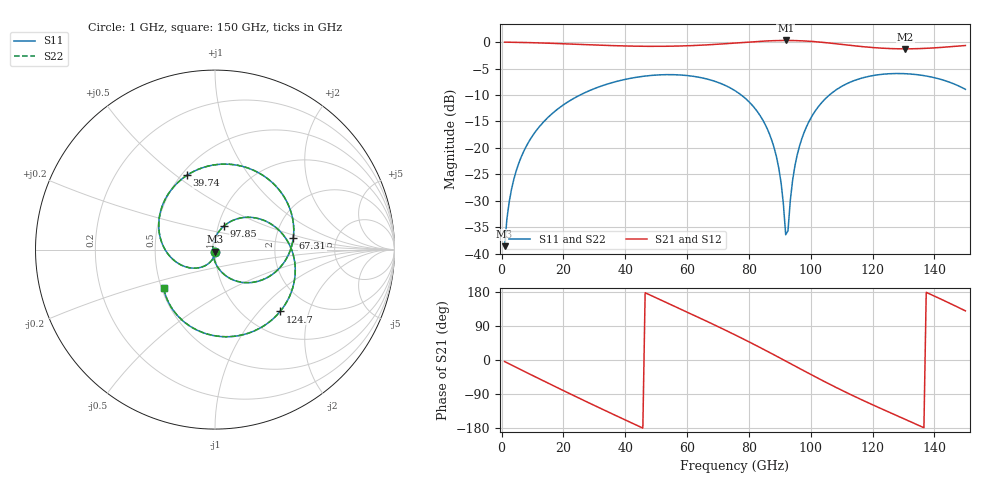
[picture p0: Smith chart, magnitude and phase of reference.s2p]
! Created with skrf 2.2.0 (http://scikit-rf.org).
# Hz S RI R 50.0
!freq ReS11 ImS11 ReS21 ImS21 ReS12 ImS12 ReS22 ImS22
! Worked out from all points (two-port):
!   201 points, 1 GHz to 150 GHz, reference 50 ohm
!   highest |S21| = 0.30 dB at 91.89 GHz (marker M1); lowest = -1.3 dB at 130.6 GHz (marker M2)
!   |S21| within 3 dB of the highest: start of sweep to end of sweep
!   lowest |S11| = -38.6 dB at 1 GHz (marker M3), VSWR 1.02, Z = 50.1 - j1.18 ohm
!   |S11| at or under -10 dB: start of sweep to 25.42 GHz; 77.5 GHz to 106 GHz (28.53 GHz wide, 31.1 % of centre)
!   |S22| runs from -38.7 to -5.9 dB; largest |S21 - S12| = 1.7e-12
!   S11 on the Smith chart (normalised r, x): 1 GHz: 1.00, -0.02; 39.74 GHz: 0.53, +0.55; 67.31 GHz: 2.50, +0.39; 97.85 GHz: 1.06, +0.28; 124.7 GHz: 1.43, -1.31; 150 GHz: 0.51, -0.25
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1e9  0.000712 -0.0118  0.9956 -0.0724  0.9956 -0.0724  0.000591 -0.0117
3.235e9  -0.00666 -0.0402  0.969 -0.2289  0.969 -0.2289  -0.00661 -0.0401
7.705e9  -0.0495 -0.0865  0.8444 -0.5162  0.8444 -0.5162  -0.0495 -0.0865
1.739e10  -0.2114 -0.0726  0.3263 -0.9137  0.3263 -0.9137  -0.2114 -0.0726
2.633e10  -0.311 0.0976  -0.2549 -0.9126  -0.2549 -0.9126  -0.311 0.0976
3.974e10  -0.1559 0.4141  -0.8469 -0.3562  -0.8469 -0.3562  -0.156 0.4141
5.0915e10  0.1749 0.4573  -0.8599 0.3014  -0.8599 0.3014  0.1747 0.4574
6.7305e10  0.4361 0.0636  -0.1413 0.933  -0.1413 0.933  0.4361 0.0641
7.55e10  0.3181 -0.1393  0.3926 0.8971  0.3926 0.8971  0.3185 -0.1388
8.742e10  0.0269 -0.1143  0.9858 0.2954  0.9858 0.2954  0.0274 -0.1143
9.04e10  -0.00747 -0.0462  1.032 0.0681  1.032 0.0681  -0.00709 -0.0463
9.189e10  -0.0127 -0.00818  1.034 -0.0492  1.034 -0.0492  -0.0124 -0.00831
9.2635e10  -0.0122 0.0111  1.03 -0.1079  1.03 -0.1079  -0.0119 0.011
9.487e10  0.00232 0.0675  0.994 -0.2805  0.994 -0.2805  0.00247 0.0674
9.785e10  0.0495 0.1312  0.8983 -0.493  0.8983 -0.493  0.0495 0.131
1.0083e11  0.1214 0.1708  0.7557 -0.6721  0.7557 -0.6721  0.1213 0.1708
1.1126e11  0.3941 0.0629  0.0853 -0.9372  0.0853 -0.9372  0.3939 0.0636
1.2467e11  0.3628 -0.3447  -0.6194 -0.6114  -0.6194 -0.6114  0.3636 -0.3439
1.25415e11  0.3464 -0.3633  -0.6462 -0.5802  -0.6462 -0.5802  0.3472 -0.3625
1.3063e11  0.2033 -0.4594  -0.7939 -0.3375  -0.7939 -0.3375  0.2045 -0.4589
1.4106e11  -0.1283 -0.4337  -0.8536 0.2354  -0.8536 0.2354  -0.127 -0.434
1.5e11  -0.2859 -0.215  -0.5924 0.714  -0.5924 0.714  -0.2851 -0.2159
